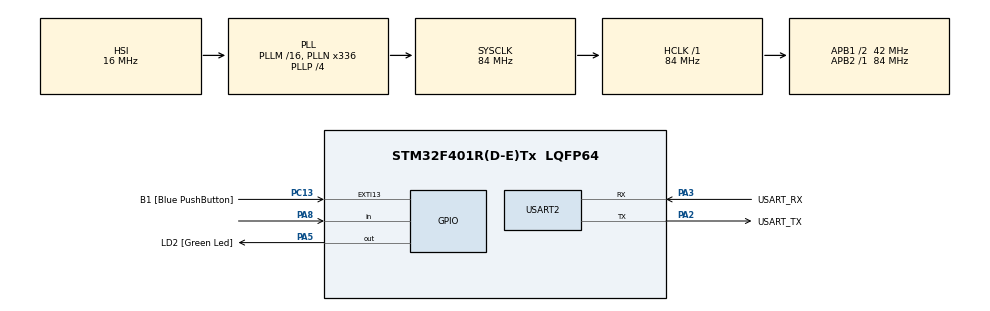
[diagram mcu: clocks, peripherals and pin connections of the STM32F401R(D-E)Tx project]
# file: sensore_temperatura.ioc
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ADC1.Channel-1\#ChannelRegularConversion=ADC_CHANNEL_TEMPSENSOR
ADC1.NbrOfConversionFlag=1
ADC1.Rank-1\#ChannelRegularConversion=1
ADC1.SamplingTime-1\#ChannelRegularConversion=ADC_SAMPLETIME_3CYCLES
ADC1.master=1
Mcu.Family=STM32F4
Mcu.Name=STM32F401R(D-E)Tx
Mcu.Package=LQFP64
NVIC.PriorityGroup=NVIC_PRIORITYGROUP_0
PA13.GPIO_Label=TMS
PA13.Mode=Serial_Wire
PA13.Signal=SYS_JTMS-SWDIO
PA14.GPIO_Label=TCK
PA14.Mode=Serial_Wire
PA14.Signal=SYS_JTCK-SWCLK
PA2.GPIO_Label=USART_TX
PA2.GPIO_Mode=GPIO_MODE_AF_PP
PA2.GPIO_PuPd=GPIO_NOPULL
PA2.GPIO_Speed=GPIO_SPEED_FREQ_LOW
PA2.Mode=Asynchronous
PA2.Signal=USART2_TX
PA3.GPIO_Label=USART_RX
PA3.GPIO_Mode=GPIO_MODE_AF_PP
PA3.GPIO_PuPd=GPIO_NOPULL
PA3.GPIO_Speed=GPIO_SPEED_FREQ_LOW
PA3.Mode=Asynchronous
PA3.Signal=USART2_RX
PA5.GPIO_Label=LD2 [Green Led]
PA5.GPIO_Mode=GPIO_MODE_OUTPUT_PP
PA5.GPIO_PuPd=GPIO_NOPULL
PA5.GPIO_Speed=GPIO_SPEED_FREQ_LOW
PA5.Signal=GPIO_Output
PA8.GPIO_PuPd=GPIO_PULLUP
PA8.Signal=GPIO_Input
PB3.GPIO_Label=SWO
PB3.Signal=SYS_JTDO-SWO
PC13-ANTI_TAMP.GPIO_Label=B1 [Blue PushButton]
PC13-ANTI_TAMP.GPIO_ModeDefaultEXTI=GPIO_MODE_IT_FALLING
PC13-ANTI_TAMP.GPIO_PuPd=GPIO_NOPULL
PC13-ANTI_TAMP.Signal=GPXTI13
PC14-OSC32_IN.Mode=LSE-External-Oscillator
PC14-OSC32_IN.Signal=RCC_OSC32_IN
PC15-OSC32_OUT.Mode=LSE-External-Oscillator
PC15-OSC32_OUT.Signal=RCC_OSC32_OUT
PH0\ -\ OSC_IN.Mode=HSE-External-Clock-Source
PH0\ -\ OSC_IN.Signal=RCC_OSC_IN
PH1\ -\ OSC_OUT.Mode=HSE-External-Clock-Source
PH1\ -\ OSC_OUT.Signal=RCC_OSC_OUT
ProjectManager.HeapSize=0x200
ProjectManager.StackSize=0x400
ProjectManager.TargetToolchain=STM32CubeIDE
RCC.48MHZClocksFreq_Value=48000000
RCC.AHBFreq_Value=84000000
RCC.APB1CLKDivider=RCC_HCLK_DIV2
RCC.APB1Freq_Value=42000000
RCC.APB1TimFreq_Value=84000000
RCC.APB2Freq_Value=84000000
RCC.APB2TimFreq_Value=84000000
RCC.CortexFreq_Value=84000000
RCC.HCLKFreq_Value=84000000
RCC.HSE_VALUE=8000000
RCC.HSI_VALUE=16000000
RCC.PLLN=336
RCC.PLLP=RCC_PLLP_DIV4
RCC.PLLQ=7
RCC.SYSCLKFreq_VALUE=84000000
RCC.SYSCLKSource=RCC_SYSCLKSOURCE_PLLCLK
RCC.VCOOutputFreq_Value=336000000
USART2.VirtualMode=VM_ASYNC
VP_ADC1_TempSens_Input.Mode=IN-TempSens
board=NUCLEO-F401RE

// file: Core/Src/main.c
/* USER CODE BEGIN Header */
/**
 ******************************************************************************
 * @file           : main.c
 * @brief          : Main program body
 ******************************************************************************
 * @attention
 *
 * Copyright (c) 2024 STMicroelectronics.
 * All rights reserved.
 *
 * This software is licensed under terms that can be found in the LICENSE file
 * in the root directory of this software component.
 * If no LICENSE file comes with this software, it is provided AS-IS.
 *
 ******************************************************************************
 */
/* USER CODE END Header */
#include "main.h"

/* USER CODE BEGIN Includes */
#include "string.h"
#include "stdio.h"
/* USER CODE END Includes */

/* USER CODE BEGIN PD */
#define V25 0.76
#define Avg_Slope 0.0025
/* USER CODE END PD */

ADC_HandleTypeDef hadc1;

UART_HandleTypeDef huart2;

void SystemClock_Config(void);
static void MX_GPIO_Init(void);
static void MX_USART2_UART_Init(void);
static void MX_ADC1_Init(void);

int main(void)
{

	/* MCU Configuration--------------------------------------------------------*/

	/* Reset of all peripherals, Initializes the Flash interface and the Systick. */
	HAL_Init();

	/* Configure the system clock */
	SystemClock_Config();

	/* Initialize all configured peripherals */
	MX_GPIO_Init();
	MX_USART2_UART_Init();
	MX_ADC1_Init();
	/* USER CODE BEGIN 2 */
	uint16_t valore;
	char stringa[30];
	float Temperature;
	/* USER CODE END 2 */

	/* Infinite loop */
	/* USER CODE BEGIN WHILE */
	while (1)
	{
		uint8_t b1;
		b1 = HAL_GPIO_ReadPin (GPIOA, GPIO_PIN_8);
		if (b1 == 0){
			HAL_ADC_Start(&hadc1);
			if(HAL_ADC_PollForConversion(&hadc1,10000)==HAL_OK){
				valore = HAL_ADC_GetValue(&hadc1);
				Temperature = ((valore*(3.3/4096) - V25)/Avg_Slope)+25; // converte la differenza di tensione in una differenza di temperatura rispetto ai 25°C. Aggiungendo 25, otteniamo la temperatura assoluta
				sprintf((char *)stringa,"T = %1.3f C\n\r",Temperature);
				HAL_UART_Transmit(&huart2,(uint8_t *)stringa,strlen((const char *)stringa),10);
			}
			HAL_Delay(1000);
		}
		/*
		 * valore: è il valore digitale che l'ADC restituisce dopo aver misurato la tensione del sensore di temperatura
		 * interno. Il valore è compreso tra 0 e 4095 (per una risoluzione a 12 bit).
    3.3 / 4096: Questa espressione calcola la risoluzione dell'ADC, cioè quanto rappresenta ogni "livello"
    dell'ADC in volt. Con un riferimento di tensione di 3.3V e una risoluzione a 12 bit, ogni incremento
    dell'ADC corrisponde a circa 0.00080586 V per unità (3.3/4096).
    V25 è la tensione del sensore di temperatura interno alla temperatura di riferimento di 25°C.
    In molti modelli STM32, il valore di V25 è intorno a 0.76V, che rappresenta la tensione misurata dal sensore
    alla temperatura di 25°C.
    è il fattore che rappresenta quanto la tensione cambia per ogni grado Celsius. In molti modelli STM32,
    l'Avg_Slope è di circa 0.0025V/°C. Questo significa che la tensione varia di 2.5 mV per ogni grado Celsius.
		 */

		/* USER CODE END WHILE */

	}
}

void SystemClock_Config(void)
{
	RCC_OscInitTypeDef RCC_OscInitStruct = {0};
	RCC_ClkInitTypeDef RCC_ClkInitStruct = {0};

	/** Configure the main internal regulator output voltage
	 */
	__HAL_RCC_PWR_CLK_ENABLE();
	__HAL_PWR_VOLTAGESCALING_CONFIG(PWR_REGULATOR_VOLTAGE_SCALE2);

	/** Initializes the RCC Oscillators according to the specified parameters
	 * in the RCC_OscInitTypeDef structure.
	 */
	RCC_OscInitStruct.OscillatorType = RCC_OSCILLATORTYPE_HSI;
	RCC_OscInitStruct.HSIState = RCC_HSI_ON;
	RCC_OscInitStruct.HSICalibrationValue = RCC_HSICALIBRATION_DEFAULT;
	RCC_OscInitStruct.PLL.PLLState = RCC_PLL_ON;
	RCC_OscInitStruct.PLL.PLLSource = RCC_PLLSOURCE_HSI;
	RCC_OscInitStruct.PLL.PLLM = 16;
	RCC_OscInitStruct.PLL.PLLN = 336;
	RCC_OscInitStruct.PLL.PLLP = RCC_PLLP_DIV4;
	RCC_OscInitStruct.PLL.PLLQ = 7;
	if (HAL_RCC_OscConfig(&RCC_OscInitStruct) != HAL_OK)
	{
		Error_Handler();
	}

	/** Initializes the CPU, AHB and APB buses clocks
	 */
	RCC_ClkInitStruct.ClockType = RCC_CLOCKTYPE_HCLK|RCC_CLOCKTYPE_SYSCLK
			|RCC_CLOCKTYPE_PCLK1|RCC_CLOCKTYPE_PCLK2;
	RCC_ClkInitStruct.SYSCLKSource = RCC_SYSCLKSOURCE_PLLCLK;
	RCC_ClkInitStruct.AHBCLKDivider = RCC_SYSCLK_DIV1;
	RCC_ClkInitStruct.APB1CLKDivider = RCC_HCLK_DIV2;
	RCC_ClkInitStruct.APB2CLKDivider = RCC_HCLK_DIV1;

	if (HAL_RCC_ClockConfig(&RCC_ClkInitStruct, FLASH_LATENCY_2) != HAL_OK)
	{
		Error_Handler();
	}
}

static void MX_ADC1_Init(void)
{

	ADC_ChannelConfTypeDef sConfig = {0};

	/** Configure the global features of the ADC (Clock, Resolution, Data Alignment and number of conversion)
	 */
	hadc1.Instance = ADC1;
	hadc1.Init.ClockPrescaler = ADC_CLOCK_SYNC_PCLK_DIV4;
	hadc1.Init.Resolution = ADC_RESOLUTION_12B;
	hadc1.Init.ScanConvMode = DISABLE;
	hadc1.Init.ContinuousConvMode = DISABLE;
	hadc1.Init.DiscontinuousConvMode = DISABLE;
	hadc1.Init.ExternalTrigConvEdge = ADC_EXTERNALTRIGCONVEDGE_NONE;
	hadc1.Init.ExternalTrigConv = ADC_SOFTWARE_START;
	hadc1.Init.DataAlign = ADC_DATAALIGN_RIGHT;
	hadc1.Init.NbrOfConversion = 1;
	hadc1.Init.DMAContinuousRequests = DISABLE;
	hadc1.Init.EOCSelection = ADC_EOC_SINGLE_CONV;
	if (HAL_ADC_Init(&hadc1) != HAL_OK)
	{
		Error_Handler();
	}

	/** Configure for the selected ADC regular channel its corresponding rank in the sequencer and its sample time.
	 */
	sConfig.Channel = ADC_CHANNEL_TEMPSENSOR;
	sConfig.Rank = 1;
	sConfig.SamplingTime = ADC_SAMPLETIME_3CYCLES;
	if (HAL_ADC_ConfigChannel(&hadc1, &sConfig) != HAL_OK)
	{
		Error_Handler();
	}

}

static void MX_USART2_UART_Init(void)
{

	huart2.Instance = USART2;
	huart2.Init.BaudRate = 115200;
	huart2.Init.WordLength = UART_WORDLENGTH_8B;
	huart2.Init.StopBits = UART_STOPBITS_1;
	huart2.Init.Parity = UART_PARITY_NONE;
	huart2.Init.Mode = UART_MODE_TX_RX;
	huart2.Init.HwFlowCtl = UART_HWCONTROL_NONE;
	huart2.Init.OverSampling = UART_OVERSAMPLING_16;
	if (HAL_UART_Init(&huart2) != HAL_OK)
	{
		Error_Handler();
	}

}

static void MX_GPIO_Init(void)
{
	GPIO_InitTypeDef GPIO_InitStruct = {0};

	/* GPIO Ports Clock Enable */
	__HAL_RCC_GPIOC_CLK_ENABLE();
	__HAL_RCC_GPIOH_CLK_ENABLE();
	__HAL_RCC_GPIOA_CLK_ENABLE();
	__HAL_RCC_GPIOB_CLK_ENABLE();

	/*Configure GPIO pin Output Level */
	HAL_GPIO_WritePin(LD2_GPIO_Port, LD2_Pin, GPIO_PIN_RESET);

	/*Configure GPIO pin : B1_Pin */
	GPIO_InitStruct.Pin = B1_Pin;
	GPIO_InitStruct.Mode = GPIO_MODE_IT_FALLING;
	GPIO_InitStruct.Pull = GPIO_NOPULL;
	HAL_GPIO_Init(B1_GPIO_Port, &GPIO_InitStruct);

	/*Configure GPIO pin : LD2_Pin */
	GPIO_InitStruct.Pin = LD2_Pin;
	GPIO_InitStruct.Mode = GPIO_MODE_OUTPUT_PP;
	GPIO_InitStruct.Pull = GPIO_NOPULL;
	GPIO_InitStruct.Speed = GPIO_SPEED_FREQ_LOW;
	HAL_GPIO_Init(LD2_GPIO_Port, &GPIO_InitStruct);

	/*Configure GPIO pin : PA8 */
	GPIO_InitStruct.Pin = GPIO_PIN_8;
	GPIO_InitStruct.Mode = GPIO_MODE_INPUT;
	GPIO_InitStruct.Pull = GPIO_PULLUP;
	HAL_GPIO_Init(GPIOA, &GPIO_InitStruct);

}

void Error_Handler(void)
{
	__disable_irq();
	while (1)
	{
	}
}
